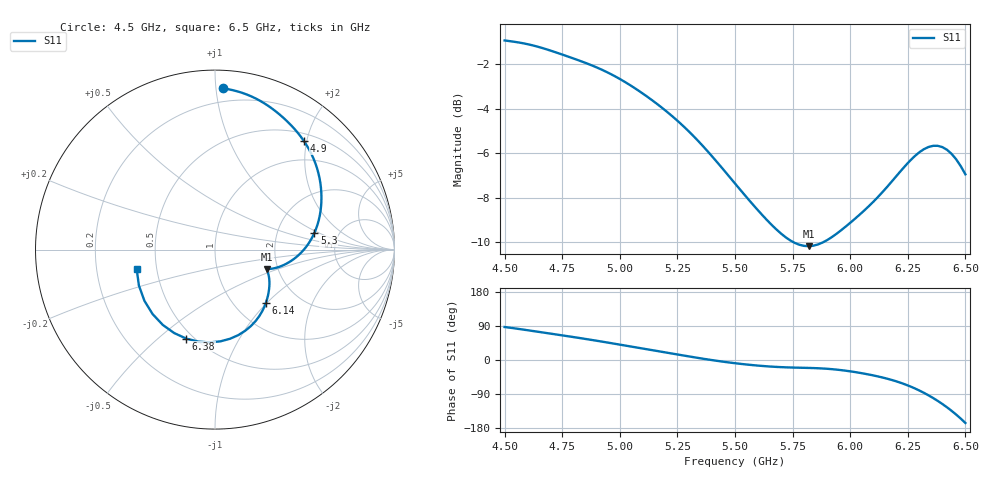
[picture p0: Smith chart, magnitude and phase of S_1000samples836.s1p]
! TOUCHSTONE file generated by CST MICROWAVE STUDIO
! Date and time: Sat Oct 29 13:33:53 2022
! Project name: L.cst
! Parameters = {Di=1.27; Epsilon_r=1.56; InnerDiameter=1.27; Length=2; Lf=10; Lg=60; OuterConductorThickness=0.2921; OuterDiameter=3.6; Wf=3; Wp=41.2; de=1.5; df=6.8; g=0.8; gx=0.937691; gy=3.908; h=2.34; hf=1.524; px=10.8395; py=9.26958; w=9.7; wx=9.90185; wy=5.36158}
! Header version: 2018
! Port assignment regex: !\s*Touchstone port\s*([0-9]+)\s*=\s*(CST MWS port|CST DS port)\s*([0-9]+|Zmin|Zmax)\s*\(\"(.*)\"\)(\s*mode\s*([0-9]+))?.*
! Touchstone port assignment:
! Touchstone port 1 = CST MWS port 1 ("")
# GHz S DB R 50
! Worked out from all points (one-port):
!   101 points, 4.5 GHz to 6.5 GHz, reference 50 ohm
!   lowest |S11| = -10.2 dB at 5.82 GHz (marker M1), VSWR 1.90, Z = 87.4 - j21.4 ohm
!   |S11| at or under -10 dB: 5.754 GHz to 5.883 GHz (129.8 MHz wide, 2.23 % of centre)
!   S11 on the Smith chart (normalised r, x): 4.5 GHz: 0.11, +1.05; 4.9 GHz: 0.62, +1.95; 5.3 GHz: 3.30, +0.89; 6.14 GHz: 1.39, -0.98; 6.38 GHz: 0.46, -0.62; 6.5 GHz: 0.38, -0.10
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4.5  -0.92 87.0
4.62  -1.13 76.8
4.76  -1.59 64.1
4.9  -2.13 50.8
5  -2.65 40.6
5.12  -3.46 28.1
5.18  -3.92 21.9
5.26  -4.63 13.6
5.3  -5.02 9.5
5.4  -6.13 -0.2
5.5  -7.36 -8.5
5.64  -9.02 -16.7
5.76  -10.04 -20.1
5.82  -10.18 -20.9
5.92  -9.78 -24.2
6  -9.13 -29.9
6.08  -8.39 -38.2
6.14  -7.75 -46.1
6.2  -7.03 -56.3
6.26  -6.33 -69.6
6.32  -5.81 -86.6
6.36  -5.66 -100.3
6.38  -5.66 -107.9
6.4  -5.72 -116.1
6.44  -6.02 -134.1
6.46  -6.27 -144.0
6.48  -6.58 -154.7
6.5  -6.95 -166.2
